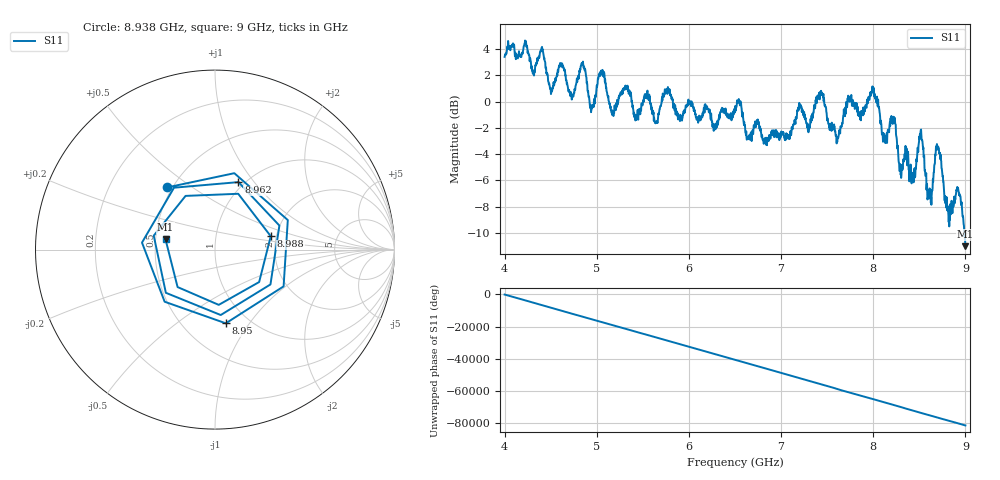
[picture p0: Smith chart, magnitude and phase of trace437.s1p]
! Created with skrf 1.8.0 (http://scikit-rf.org).
# Hz S RI R 50.0
!freq ReS11 ImS11
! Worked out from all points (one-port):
!   1601 points, 4 GHz to 9 GHz, reference 50 ohm
!   lowest |S11| = -11.0 dB at 9 GHz (marker M1), VSWR 1.78, Z = 28.2 + j3.46 ohm
!   |S11| at or under -10 dB: 8.98866 GHz to end of sweep
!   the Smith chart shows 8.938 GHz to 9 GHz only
!   S11 on the Smith chart (normalised r, x): 8.938 GHz: 0.47, +0.40; 8.95 GHz: 0.79, -0.78; 8.962 GHz: 0.94, +0.84; 8.988 GHz: 1.87, +0.31; 9 GHz: 0.56, +0.07
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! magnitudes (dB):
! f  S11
! 4 GHz  3.4
! 4.406 GHz  4.2
! 4.503 GHz  0.6
! 4.625 GHz  2.9
! 4.731 GHz  0.2
! 4.853 GHz  2.8
! 4.944 GHz  -0.6
! 5.044 GHz  2.1
! 5.162 GHz  -0.8
! 5.25 GHz  0.5
! 5.875 GHz  -1.1
! 6.5 GHz  -0.5
! 7.125 GHz  -2.1
! 7.434 GHz  0.8
! 7.616 GHz  -2.7
! 7.75 GHz  0.4
! 8.006 GHz  1.0
! 8.375 GHz  -4.4
! 8.438 GHz  -6.2
! 8.519 GHz  -2.1
! 8.612 GHz  -6.6
! 8.706 GHz  -3.5
! 8.806 GHz  -8.0
! 8.938 GHz  -7.2
! 8.95 GHz  -7.6
! 8.962 GHz  -8.0
! 8.988 GHz  -9.9
! 9 GHz  -11.0
